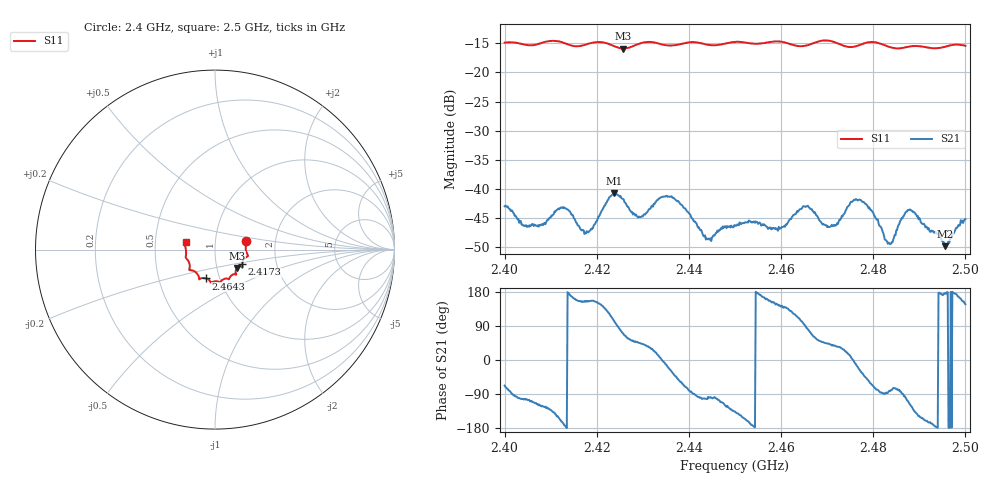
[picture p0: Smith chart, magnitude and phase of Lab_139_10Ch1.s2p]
# Hz S RI R 50
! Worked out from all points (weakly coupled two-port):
!   601 points, 2.4 GHz to 2.5 GHz, reference 50 ohm
!   highest |S21| = -40.80 dB at 2.4238 GHz (marker M1); lowest = -49.9 dB at 2.4955 GHz (marker M2)
!   lowest |S11| = -15.9 dB at 2.4257 GHz (marker M3), VSWR 1.38, Z = 62.5 - j13.2 ohm
!   |S11| at or under -10 dB: start of sweep to end of sweep
!   S12 and S22 are empty: the file has one direction only
!   S11 on the Smith chart (normalised r, x): 2.4 GHz: 1.41, +0.14; 2.4173 GHz: 1.34, -0.22; 2.4643 GHz: 0.86, -0.28; 2.5 GHz: 0.72, +0.06
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2.4e9  0.1734 0.0492  0.00271 -0.00652  0 0  0 0
2.404833e9  0.1713 0.016  -0.00115 -0.00455  0 0  0 0
2.413167e9  0.1727 -0.042  -0.00674 -0.000707  0 0  0 0
2.416667e9  0.1526 -0.0742  -0.00393 0.00197  0 0  0 0
2.417333e9  0.1517 -0.0816  -0.00372 0.0017  0 0  0 0
2.423833e9  0.139 -0.0945  -0.0018 0.00894  0 0  0 0
2.425667e9  0.1233 -0.1026  0.00272 0.00771  0 0  0 0
2.429333e9  0.116 -0.1339  0.00404 0.00403  0 0  0 0
2.433333e9  0.1122 -0.1375  0.00786 0.00174  0 0  0 0
2.437333e9  0.085 -0.15  0.00554 -0.00562  0 0  0 0
2.444167e9  0.0622 -0.1611  -0.000467 -0.00364  0 0  0 0
2.45e9  0.0287 -0.1811  -0.0035 -0.00337  0 0  0 0
2.4595e9  -0.0234 -0.1833  -0.00378 0.0028  0 0  0 0
2.464333e9  -0.0498 -0.1606  -0.00151 0.00652  0 0  0 0
2.466667e9  -0.0759 -0.1593  0.00255 0.00617  0 0  0 0
2.470833e9  -0.0878 -0.164  0.0036 0.00309  0 0  0 0
2.4755e9  -0.1116 -0.1224  0.0078 0.000204  0 0  0 0
2.477333e9  -0.1299 -0.1155  0.00684 -0.00411  0 0  0 0
2.483333e9  -0.1405 -0.0895  0.000421 -0.00342  0 0  0 0
2.488e9  -0.1596 -0.0505  -0.00305 -0.00589  0 0  0 0
2.4955e9  -0.1654 0.0152  -0.0032 0.0002  0 0  0 0
2.5e9  -0.1641 0.0429  -0.0046 0.00296  0 0  0 0
